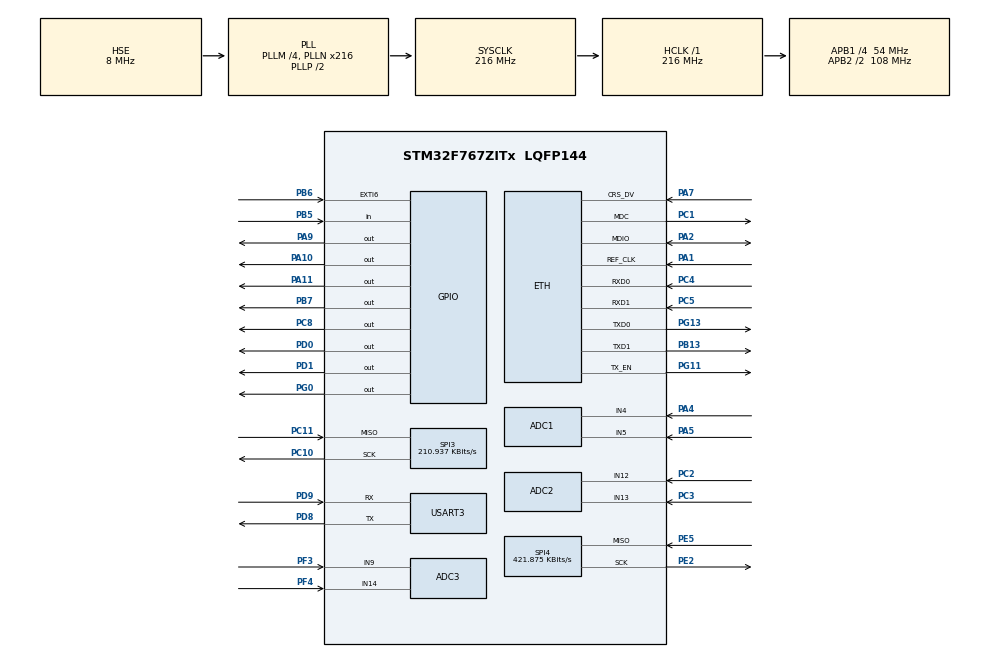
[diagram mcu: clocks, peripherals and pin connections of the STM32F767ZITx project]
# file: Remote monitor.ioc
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ADC1.Channel-3\#ChannelRegularConversion=ADC_CHANNEL_5
ADC1.ClockPrescaler=ADC_CLOCK_SYNC_PCLK_DIV4
ADC1.NbrOfConversionFlag=1
ADC1.Rank-3\#ChannelRegularConversion=1
ADC1.SamplingTime-3\#ChannelRegularConversion=ADC_SAMPLETIME_3CYCLES
ADC1.master=1
ADC2.Channel-6\#ChannelRegularConversion=ADC_CHANNEL_12
ADC2.NbrOfConversionFlag=1
ADC2.Rank-6\#ChannelRegularConversion=1
ADC2.SamplingTime-6\#ChannelRegularConversion=ADC_SAMPLETIME_3CYCLES
ADC3.Channel-2\#ChannelRegularConversion=ADC_CHANNEL_9
ADC3.InjNumberOfConversion=0
ADC3.NbrOfConversionFlag=1
ADC3.Rank-2\#ChannelRegularConversion=1
ADC3.SamplingTime-2\#ChannelRegularConversion=ADC_SAMPLETIME_3CYCLES
ETH.MediaInterface=ETH_MEDIA_INTERFACE_RMII
ETH.PHY_DUPLEX_STATUS=0x0004
ETH.PHY_Name_RMII=LAN8742A_PHY_ADDRESS
ETH.PHY_SPEED_STATUS=0x0002
ETH.PHY_SR=0x10
ETH.PhyAddress=0
FREERTOS.INCLUDE_uxTaskGetStackHighWaterMark=1
FREERTOS.Tasks01=defaultTask,0,200,StartDefaultTask,Default,NULL,Dynamic,NULL,NULL
FREERTOS.configCHECK_FOR_STACK_OVERFLOW=2
FREERTOS.configMAX_TASK_NAME_LEN=25
FREERTOS.configTIMER_QUEUE_LENGTH=2
FREERTOS.configTIMER_TASK_PRIORITY=3
FREERTOS.configTOTAL_HEAP_SIZE=200000
FREERTOS.configUSE_IDLE_HOOK=1
FREERTOS.configUSE_NEWLIB_REENTRANT=1
FREERTOS.configUSE_STATS_FORMATTING_FUNCTIONS=1
FREERTOS.configUSE_TIMERS=1
FREERTOS.configUSE_TRACE_FACILITY=1
LWIP.CMSIS_VERSION-Enabled=1
LWIP.DEFAULT_THREAD_NAME="lwip"
LWIP.DHCP_DEBUG=LWIP_DBG_OFF
LWIP.LWIP_HTTPD=1
LWIP.LWIP_NETIF_HOSTNAME=1
LWIP.MEM_SIZE=10000
LWIP.PBUF_POOL_BUFSIZE=2000
LWIP.TCP_MSS=1072
LWIP.Version=v2.1.2_Cube
Mcu.Family=STM32F7
Mcu.Name=STM32F767ZITx
Mcu.Package=LQFP144
NVIC.ETH_IRQn=true\:5\:0\:false\:false\:true\:true\:false\:true\:true
NVIC.PriorityGroup=NVIC_PRIORITYGROUP_4
NVIC.TIM2_IRQn=true\:15\:0\:false\:false\:true\:false\:false\:true\:true
NVIC.TimeBase=TIM2_IRQn
NVIC.TimeBaseIP=TIM2
PA1.Mode=RMII
PA1.Signal=ETH_REF_CLK
PA10.Signal=GPIO_Output
PA11.Signal=GPIO_Output
PA2.Mode=RMII
PA2.Signal=ETH_MDIO
PA4.Signal=ADCx_IN4
PA5.Signal=ADCx_IN5
PA7.Mode=RMII
PA7.Signal=ETH_CRS_DV
PA9.PinState=GPIO_PIN_SET
PA9.Signal=GPIO_Output
PB13.Mode=RMII
PB13.Signal=ETH_TXD1
PB5.GPIO_PuPd=GPIO_PULLDOWN
PB5.Signal=GPIO_Input
PB6.GPIO_PuPd=GPIO_PULLDOWN
PB6.Signal=GPXTI6
PB7.Signal=GPIO_Output
PC1.Mode=RMII
PC1.Signal=ETH_MDC
PC10.Mode=RX_Only_Simplex_Unidirect_Master
PC10.Signal=SPI3_SCK
PC11.Mode=RX_Only_Simplex_Unidirect_Master
PC11.Signal=SPI3_MISO
PC2.Signal=ADCx_IN12
PC3.Signal=ADCx_IN13
PC4.Mode=RMII
PC4.Signal=ETH_RXD0
PC5.Mode=RMII
PC5.Signal=ETH_RXD1
PC8.Signal=GPIO_Output
PD0.GPIO_Speed=GPIO_SPEED_FREQ_HIGH
PD0.PinState=GPIO_PIN_SET
PD0.Signal=GPIO_Output
PD1.GPIO_Speed=GPIO_SPEED_FREQ_HIGH
PD1.PinState=GPIO_PIN_SET
PD1.Signal=GPIO_Output
PD8.Mode=Asynchronous
PD8.Signal=USART3_TX
PD9.Mode=Asynchronous
PD9.Signal=USART3_RX
PE2.Mode=RX_Only_Simplex_Unidirect_Master
PE2.Signal=SPI4_SCK
PE5.Mode=RX_Only_Simplex_Unidirect_Master
PE5.Signal=SPI4_MISO
PF3.Mode=IN9
PF3.Signal=ADC3_IN9
PF4.Mode=IN14
PF4.Signal=ADC3_IN14
PG0.GPIO_Speed=GPIO_SPEED_FREQ_VERY_HIGH
PG0.Signal=GPIO_Output
PG11.Mode=RMII
PG11.Signal=ETH_TX_EN
PG13.Mode=RMII
PG13.Signal=ETH_TXD0
PH0/OSC_IN.Mode=HSE-External-Oscillator
PH0/OSC_IN.Signal=RCC_OSC_IN
PH1/OSC_OUT.Mode=HSE-External-Oscillator
PH1/OSC_OUT.Signal=RCC_OSC_OUT
ProjectManager.HeapSize=0x200
ProjectManager.StackSize=0x400
ProjectManager.TargetToolchain=STM32CubeIDE
RCC.AHBFreq_Value=216000000
RCC.APB1CLKDivider=RCC_HCLK_DIV4
RCC.APB1Freq_Value=54000000
RCC.APB1TimFreq_Value=108000000
RCC.APB2CLKDivider=RCC_HCLK_DIV2
RCC.APB2Freq_Value=108000000
RCC.APB2TimFreq_Value=216000000
RCC.CortexFreq_Value=216000000
RCC.HCLKFreq_Value=216000000
RCC.HSE_VALUE=8000000
RCC.HSI_VALUE=16000000
RCC.LSE_VALUE=32768
RCC.PLLM=4
RCC.PLLN=216
RCC.PLLQ=9
RCC.PLLSourceVirtual=RCC_PLLSOURCE_HSE
RCC.SYSCLKFreq_VALUE=216000000
RCC.SYSCLKSource=RCC_SYSCLKSOURCE_PLLCLK
RCC.USBFreq_Value=48000000
RCC.VCOOutputFreq_Value=432000000
SH.ADCx_IN12.0=ADC2_IN12,IN12
SH.ADCx_IN13.0=ADC2_IN13,IN13
SH.ADCx_IN4.0=ADC1_IN4,IN4
SH.ADCx_IN5.0=ADC1_IN5,IN5
SPI3.BaudRatePrescaler=SPI_BAUDRATEPRESCALER_256
SPI3.CalculateBaudRate=210.937 KBits/s
SPI3.DataSize=SPI_DATASIZE_8BIT
SPI3.Direction=SPI_DIRECTION_2LINES_RXONLY
SPI3.Mode=SPI_MODE_MASTER
SPI3.VirtualType=VM_MASTER
SPI4.BaudRatePrescaler=SPI_BAUDRATEPRESCALER_256
SPI4.CalculateBaudRate=421.875 KBits/s
SPI4.DataSize=SPI_DATASIZE_8BIT
SPI4.Direction=SPI_DIRECTION_2LINES_RXONLY
SPI4.Mode=SPI_MODE_MASTER
SPI4.VirtualType=VM_MASTER
USART3.VirtualMode-Asynchronous=VM_ASYNC
VP_FREERTOS_VS_CMSIS_V1.Mode=CMSIS_V1
VP_LWIP_VS_Enabled.Mode=Enabled
VP_MBEDTLS_VS_MBEDTLS.Mode=Enabled
VP_RNG_VS_RNG.Mode=RNG_Activate
VP_SYS_VS_tim2.Mode=TIM2
VP_TIM9_VS_ClockSourceINT.Mode=Internal
board=custom

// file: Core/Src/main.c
/* USER CODE BEGIN Header */
/**
  ******************************************************************************
  * @file           : main.c
  * @brief          : Main program body
  ******************************************************************************
  * @attention
  *
  * <h2><center>&copy; Copyright (c) 2021 STMicroelectronics.
  * All rights reserved.</center></h2>
  *
  * This software component is licensed by ST under BSD 3-Clause license,
  * the "License"; You may not use this file except in compliance with the
  * License. You may obtain a copy of the License at:
  *                        opensource.org/licenses/BSD-3-Clause
  *
  ******************************************************************************
  */
/* USER CODE END Header */
#include "main.h"
#include "cmsis_os.h"
#include "adc.h"
#include "mbedtls.h"
#include "rng.h"
#include "spi.h"
#include "tim.h"
#include "usart.h"
#include "gpio.h"

void SystemClock_Config(void);
void MX_FREERTOS_Init(void);

int main(void)
{

  /* MCU Configuration--------------------------------------------------------*/

  /* Reset of all peripherals, Initializes the Flash interface and the Systick. */
  HAL_Init();

  /* Configure the system clock */
  SystemClock_Config();

  /* Initialize all configured peripherals */
  MX_GPIO_Init();
  MX_USART3_UART_Init();
  MX_RNG_Init();
  MX_MBEDTLS_Init();
  MX_ADC1_Init();
  MX_ADC2_Init();
  MX_ADC3_Init();
  MX_TIM9_Init();
  MX_SPI3_Init();
  MX_SPI4_Init();

  /* Call init function for freertos objects (in freertos.c) */
  MX_FREERTOS_Init();
  /* Start scheduler */
  osKernelStart();

  /* We should never get here as control is now taken by the scheduler */
  /* Infinite loop */
  while (1)
  {

  }
}

void SystemClock_Config(void)
{
  RCC_OscInitTypeDef RCC_OscInitStruct = {0};
  RCC_ClkInitTypeDef RCC_ClkInitStruct = {0};

  /** Configure the main internal regulator output voltage
  */
  __HAL_RCC_PWR_CLK_ENABLE();
  __HAL_PWR_VOLTAGESCALING_CONFIG(PWR_REGULATOR_VOLTAGE_SCALE1);
  /** Initializes the RCC Oscillators according to the specified parameters
  * in the RCC_OscInitTypeDef structure.
  */
  RCC_OscInitStruct.OscillatorType = RCC_OSCILLATORTYPE_HSE;
  RCC_OscInitStruct.HSEState = RCC_HSE_ON;
  RCC_OscInitStruct.PLL.PLLState = RCC_PLL_ON;
  RCC_OscInitStruct.PLL.PLLSource = RCC_PLLSOURCE_HSE;
  RCC_OscInitStruct.PLL.PLLM = 4;
  RCC_OscInitStruct.PLL.PLLN = 216;
  RCC_OscInitStruct.PLL.PLLP = RCC_PLLP_DIV2;
  RCC_OscInitStruct.PLL.PLLQ = 9;
  RCC_OscInitStruct.PLL.PLLR = 2;
  if (HAL_RCC_OscConfig(&RCC_OscInitStruct) != HAL_OK)
  {
    Error_Handler();
  }
  /** Activate the Over-Drive mode
  */
  if (HAL_PWREx_EnableOverDrive() != HAL_OK)
  {
    Error_Handler();
  }
  /** Initializes the CPU, AHB and APB buses clocks
  */
  RCC_ClkInitStruct.ClockType = RCC_CLOCKTYPE_HCLK|RCC_CLOCKTYPE_SYSCLK
                              |RCC_CLOCKTYPE_PCLK1|RCC_CLOCKTYPE_PCLK2;
  RCC_ClkInitStruct.SYSCLKSource = RCC_SYSCLKSOURCE_PLLCLK;
  RCC_ClkInitStruct.AHBCLKDivider = RCC_SYSCLK_DIV1;
  RCC_ClkInitStruct.APB1CLKDivider = RCC_HCLK_DIV4;
  RCC_ClkInitStruct.APB2CLKDivider = RCC_HCLK_DIV2;

  if (HAL_RCC_ClockConfig(&RCC_ClkInitStruct, FLASH_LATENCY_7) != HAL_OK)
  {
    Error_Handler();
  }
}

void HAL_TIM_PeriodElapsedCallback(TIM_HandleTypeDef *htim)
{
  if (htim->Instance == TIM2) {
    HAL_IncTick();
  }
}

void Error_Handler(void)
{
  __disable_irq();
  while (1)
  {
  }
}

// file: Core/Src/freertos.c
/* USER CODE BEGIN Header */
/**
 ******************************************************************************
 * File Name          : freertos.c
 * Description        : Code for freertos applications
 ******************************************************************************
 * @attention
 *
 * <h2><center>&copy; Copyright (c) 2021 STMicroelectronics.
 * All rights reserved.</center></h2>
 *
 * This software component is licensed by ST under Ultimate Liberty license
 * SLA0044, the "License"; You may not use this file except in compliance with
 * the License. You may obtain a copy of the License at:
 *                             www.st.com/SLA0044
 *
 ******************************************************************************
 */
/* USER CODE END Header */

#include "FreeRTOS.h"
#include "task.h"
#include "main.h"
#include "cmsis_os.h"

/* USER CODE BEGIN Includes */

#include "web_server.h"
#include "SSL_email.h"
#include "stdio.h"
#include "application_core.h"
#include "development_aid.h"
#include "lwip.h"

/* USER CODE END Includes */

osThreadId defaultTaskHandle;

void StartDefaultTask(void const * argument);

extern void MX_LWIP_Init(void);
void MX_FREERTOS_Init(void); /* (MISRA C 2004 rule 8.1) */

/* GetIdleTaskMemory prototype (linked to static allocation support) */
void vApplicationGetIdleTaskMemory( StaticTask_t **ppxIdleTaskTCBBuffer, StackType_t **ppxIdleTaskStackBuffer, uint32_t *pulIdleTaskStackSize );

/* GetTimerTaskMemory prototype (linked to static allocation support) */
void vApplicationGetTimerTaskMemory( StaticTask_t **ppxTimerTaskTCBBuffer, StackType_t **ppxTimerTaskStackBuffer, uint32_t *pulTimerTaskStackSize );

/* Hook prototypes */
void vApplicationIdleHook(void);
void vApplicationStackOverflowHook(xTaskHandle xTask, signed char *pcTaskName);

/* USER CODE BEGIN 2 */
__weak void vApplicationIdleHook( void )
{
   /* vApplicationIdleHook() will only be called if configUSE_IDLE_HOOK is set
   to 1 in FreeRTOSConfig.h. It will be called on each iteration of the idle
   task. It is essential that code added to this hook function never attempts
   to block in any way (for example, call xQueueReceive() with a block time
   specified, or call vTaskDelay()). If the application makes use of the
   vTaskDelete() API function (as this demo application does) then it is also
   important that vApplicationIdleHook() is permitted to return to its calling
   function, because it is the responsibility of the idle task to clean up
   memory allocated by the kernel to any task that has since been deleted. */
}
/* USER CODE END 2 */

/* USER CODE BEGIN 4 */
__weak void vApplicationStackOverflowHook(xTaskHandle xTask, signed char *pcTaskName)
{
	/* Run time stack overflow checking is performed if
   configCHECK_FOR_STACK_OVERFLOW is defined to 1 or 2. This hook function is
   called if a stack overflow is detected. */
}
/* USER CODE END 4 */

/* USER CODE BEGIN GET_IDLE_TASK_MEMORY */
static StaticTask_t xIdleTaskTCBBuffer;
static StackType_t xIdleStack[configMINIMAL_STACK_SIZE];

void vApplicationGetIdleTaskMemory( StaticTask_t **ppxIdleTaskTCBBuffer, StackType_t **ppxIdleTaskStackBuffer, uint32_t *pulIdleTaskStackSize )
{
	*ppxIdleTaskTCBBuffer = &xIdleTaskTCBBuffer;
	*ppxIdleTaskStackBuffer = &xIdleStack[0];
	*pulIdleTaskStackSize = configMINIMAL_STACK_SIZE;
	/* place for user code */
}
/* USER CODE END GET_IDLE_TASK_MEMORY */

/* USER CODE BEGIN GET_TIMER_TASK_MEMORY */
static StaticTask_t xTimerTaskTCBBuffer;
static StackType_t xTimerStack[configTIMER_TASK_STACK_DEPTH];

void vApplicationGetTimerTaskMemory( StaticTask_t **ppxTimerTaskTCBBuffer, StackType_t **ppxTimerTaskStackBuffer, uint32_t *pulTimerTaskStackSize )
{
  *ppxTimerTaskTCBBuffer = &xTimerTaskTCBBuffer;
  *ppxTimerTaskStackBuffer = &xTimerStack[0];
  *pulTimerTaskStackSize = configTIMER_TASK_STACK_DEPTH;
  /* place for user code */
}
/* USER CODE END GET_TIMER_TASK_MEMORY */

void MX_FREERTOS_Init(void) {

  /* Create the thread(s) */
  /* definition and creation of defaultTask */
  osThreadDef(defaultTask, StartDefaultTask, osPriorityNormal, 0, 200);
  defaultTaskHandle = osThreadCreate(osThread(defaultTask), NULL);

}

void StartDefaultTask(void const * argument)
{
  /* USER CODE BEGIN StartDefaultTask */

	HAL_GPIO_WritePin(GPIOC, GPIO_PIN_8, GPIO_PIN_SET);

	MX_LWIP_Init(); // added again because enabling embedtls in Cube removed it

	osDelay(1000);

	app_core_init();

	DiagnosticToolsInit();
	WebServerInit();
	SSL_email_init();

	// check if IP has been aquired after x seconds, if not reset device
	extern ETH_HandleTypeDef heth;
	extern struct netif gnetif;

	for(int i = 0; i < 5; i++)
	{
		osDelay(1000);

		if(gnetif.ip_addr.addr != 0)
			break;

		if(i == 2)
		{
			printf("Reset\n");
			osDelay(100);
			NVIC_SystemReset();
		}
	}

	/* Infinite loop */
	for(;;)
	{
		uint32_t regvalue = 0;

		HAL_GPIO_TogglePin(GPIOC, GPIO_PIN_8);
		HAL_Delay(200);
	    HAL_ETH_ReadPHYRegister(&heth, PHY_BSR, &regvalue);
	    regvalue &= PHY_LINKED_STATUS; // this is enough to check if cable is connected

	    if(regvalue && gnetif.ip_addr.addr != 0) // IP check not really needed here because program will never reach this point with IP = 0
	    	HAL_GPIO_WritePin(GPIOA, GPIO_PIN_9, GPIO_PIN_RESET); 	// cable connected - LED on
	    else
	    	HAL_GPIO_WritePin(GPIOA, GPIO_PIN_9, GPIO_PIN_SET);		// cable disconnected - LED off
	}

  /* USER CODE END StartDefaultTask */
}
